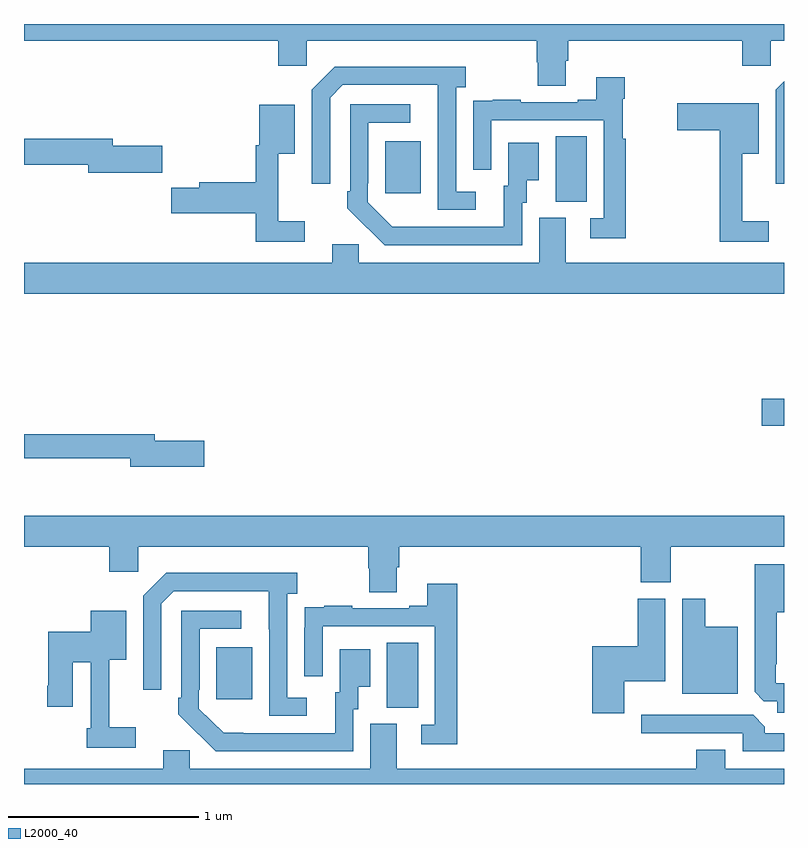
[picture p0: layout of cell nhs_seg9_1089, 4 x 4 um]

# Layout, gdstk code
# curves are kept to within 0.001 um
import gdstk
lib = gdstk.Library(unit=1e-6, precision=1e-09)
def R(c, l, rs):  # rectangles x0, y0, x1, y1
    for r in rs: c.add(gdstk.rectangle(r[:2], r[2:], *l))
def P(c, l, *ps):  # polygons
    for p in ps: c.add(gdstk.Polygon(p, *l))
L2000_40 = (2000, 40)

nhs_seg9_1089 = lib.new_cell('nhs_seg9_1089')
R(nhs_seg9_1089, L2000_40, [(172.91,1200.901,173.074,1201.244), (172.013,1200.945,172.201,1201.219), (174.882,1202.386,175,1202.528), (173.798,1203.565,173.962,1203.908), (172.901,1203.609,173.089,1203.883)])
P(nhs_seg9_1089, L2000_40, [(173.851,1204.306),(173.864,1204.306),(173.864,1204.412),(174.779,1204.412),(174.779,1204.281),(174.93,1204.281),(174.93,1204.412),(175,1204.412),(175,1204.5),(171,1204.5),(171,1204.412),(172.337,1204.412),(172.337,1204.281),(172.488,1204.281),(172.488,1204.412),(173.699,1204.412),(173.699,1204.299),(173.704,1204.299),(173.704,1204.174),(173.851,1204.174)],
  [(173.377,1203.618),(173.274,1203.618),(173.274,1204.166),(173.326,1204.166),(173.326,1204.276),(172.636,1204.276),(172.515,1204.155),(172.515,1203.66),(172.611,1203.66),(172.611,1204.113),(172.677,1204.179),(173.177,1204.179),(173.178,1203.522),(173.377,1203.522)],
  [(174.167,1203.896),(174.152,1203.896),(174.152,1204.106),(174.161,1204.106),(174.161,1204.219),(174.011,1204.219),(174.011,1204.102),(173.915,1204.102),(173.915,1204.089),(173.615,1204.089),(173.615,1204.102),(173.467,1204.102),(173.467,1204.095),(173.365,1204.095),(173.365,1203.986),(173.364,1203.986),(173.364,1203.732),(173.46,1203.732),(173.46,1203.993),(174.051,1203.993),(174.051,1203.477),(173.979,1203.477),(173.979,1203.372),(174.167,1203.372)],
  [(175,1204.198),(174.957,1204.155),(174.957,1203.66),(175,1203.66)],
  [(174.919,1203.463),(174.779,1203.463),(174.779,1203.818),(174.868,1203.818),(174.868,1204.083),(174.438,1204.083),(174.438,1203.941),(174.661,1203.941),(174.661,1203.354),(174.919,1203.354)],
  [(173.622,1203.558),(173.647,1203.558),(173.647,1203.677),(173.71,1203.677),(173.71,1203.874),(173.549,1203.874),(173.549,1203.648),(173.525,1203.648),(173.525,1203.432),(172.938,1203.433),(172.809,1203.561),(172.809,1203.661),(172.812,1203.661),(172.812,1203.981),(173.032,1203.981),(173.032,1204.077),(172.716,1204.077),(172.716,1203.619),(172.701,1203.619),(172.701,1203.531),(172.898,1203.336),(173.622,1203.336)],
  [(172.477,1203.463),(172.337,1203.463),(172.337,1203.818),(172.426,1203.818),(172.426,1204.075),(172.238,1204.075),(172.238,1203.861),(172.219,1203.861),(172.219,1203.668),(171.923,1203.668),(171.923,1203.638),(171.774,1203.638),(171.774,1203.503),(172.219,1203.503),(172.219,1203.354),(172.477,1203.354)],
  [(171.727,1203.86),(171.466,1203.86),(171.466,1203.896),(171,1203.896),(171,1203.76),(171.338,1203.76),(171.338,1203.718),(171.727,1203.718)],
  [(175,1203.244),(173.851,1203.244),(173.851,1203.48),(173.711,1203.48),(173.711,1203.244),(172.761,1203.244),(172.761,1203.342),(172.622,1203.342),(172.622,1203.244),(171,1203.244),(171,1203.08),(175,1203.08)],
  [(171.949,1202.306),(171.688,1202.306),(171.688,1202.342),(171,1202.342),(171,1202.214),(171.56,1202.214),(171.56,1202.171),(171.949,1202.171)],
  [(172.963,1201.642),(172.976,1201.642),(172.976,1201.748),(174.245,1201.748),(174.245,1201.561),(174.405,1201.561),(174.405,1201.748),(175,1201.748),(175,1201.912),(171,1201.912),(171,1201.748),(171.449,1201.748),(171.449,1201.617),(171.6,1201.617),(171.6,1201.748),(172.811,1201.748),(172.811,1201.635),(172.816,1201.635),(172.816,1201.51),(172.963,1201.51)],
  [(175,1201.029),(174.957,1201.029),(174.957,1201.129),(174.961,1201.129),(174.961,1201.403),(175,1201.403),(175,1201.657),(174.845,1201.657),(174.845,1200.985),(174.894,1200.936),(174.965,1200.936),(174.965,1200.875),(175,1200.875)],
  [(172.489,1200.954),(172.386,1200.954),(172.386,1201.502),(172.438,1201.502),(172.438,1201.612),(171.748,1201.612),(171.627,1201.491),(171.627,1200.996),(171.723,1200.996),(171.723,1201.449),(171.789,1201.515),(172.289,1201.515),(172.29,1200.858),(172.489,1200.858)],
  [(173.279,1201.555),(173.123,1201.555),(173.123,1201.438),(173.027,1201.438),(173.027,1201.425),(172.727,1201.425),(172.727,1201.438),(172.579,1201.438),(172.579,1201.431),(172.477,1201.431),(172.477,1201.322),(172.476,1201.322),(172.476,1201.068),(172.572,1201.068),(172.572,1201.329),(173.163,1201.329),(173.163,1200.813),(173.091,1200.813),(173.091,1200.708),(173.279,1200.708)],
  [(174.16,1201.04),(174.376,1201.04),(174.376,1201.476),(174.23,1201.476),(174.23,1201.225),(173.99,1201.225),(173.99,1200.873),(174.16,1200.873)],
  [(174.757,1201.327),(174.586,1201.327),(174.586,1201.474),(174.464,1201.474),(174.464,1200.974),(174.757,1200.974)],
  [(172.734,1200.894),(172.759,1200.894),(172.759,1201.013),(172.822,1201.013),(172.822,1201.21),(172.661,1201.21),(172.661,1200.984),(172.637,1200.984),(172.637,1200.768),(172.05,1200.769),(171.921,1200.897),(171.921,1200.997),(171.924,1200.997),(171.924,1201.317),(172.144,1201.317),(172.144,1201.413),(171.828,1201.413),(171.828,1200.955),(171.813,1200.955),(171.813,1200.867),(172.01,1200.672),(172.734,1200.672)],
  [(171.589,1200.799),(171.449,1200.799),(171.449,1201.154),(171.538,1201.154),(171.538,1201.411),(171.35,1201.411),(171.35,1201.302),(171.127,1201.302),(171.127,1201.018),(171.122,1201.018),(171.122,1200.906),(171.256,1200.906),(171.256,1201.142),(171.351,1201.142),(171.351,1200.793),(171.331,1200.793),(171.331,1200.69),(171.589,1200.69)],
  [(175,1200.768),(174.899,1200.768),(174.899,1200.802),(174.837,1200.864),(174.249,1200.864),(174.249,1200.768),(174.783,1200.768),(174.783,1200.672),(175,1200.672)],
  [(175,1200.58),(174.691,1200.58),(174.691,1200.679),(174.539,1200.679),(174.539,1200.58),(172.963,1200.58),(172.963,1200.816),(172.823,1200.816),(172.823,1200.58),(171.873,1200.58),(171.873,1200.678),(171.734,1200.678),(171.734,1200.58),(171,1200.58),(171,1200.5),(175,1200.5)])

lib.write_gds('nhs_seg9_1089.gds')
